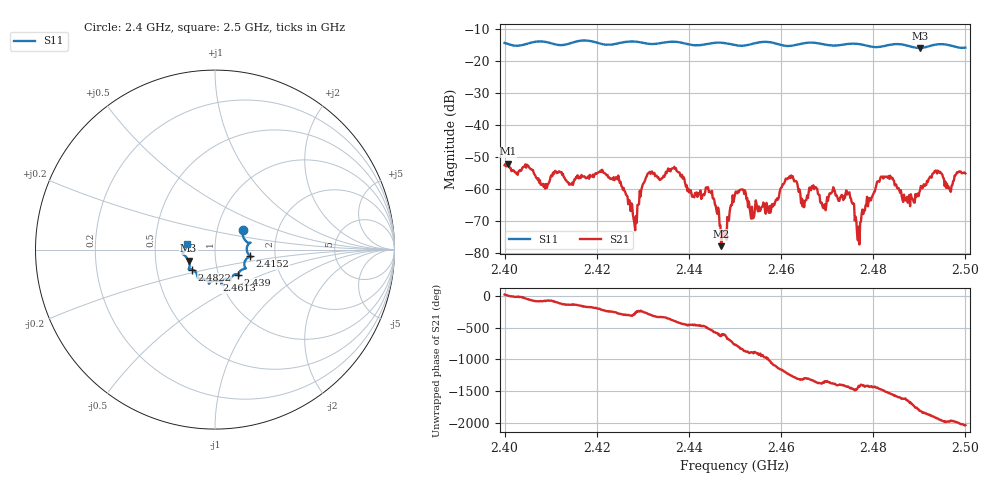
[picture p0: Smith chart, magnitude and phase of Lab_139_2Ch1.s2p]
# Hz S RI R 50
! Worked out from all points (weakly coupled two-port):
!   601 points, 2.4 GHz to 2.5 GHz, reference 50 ohm
!   highest |S21| = -52.16 dB at 2.4007 GHz (marker M1); lowest = -78.0 dB at 2.447 GHz (marker M2)
!   lowest |S11| = -15.9 dB at 2.4902 GHz (marker M3), VSWR 1.38, Z = 36.9 - j4.63 ohm
!   |S11| at or under -10 dB: start of sweep to end of sweep
!   S12 and S22 are empty: the file has one direction only
!   S11 on the Smith chart (normalised r, x): 2.4 GHz: 1.33, +0.31; 2.4152 GHz: 1.48, -0.11; 2.439 GHz: 1.24, -0.36; 2.4613 GHz: 0.96, -0.34; 2.4822 GHz: 0.76, -0.17; 2.5 GHz: 0.73, +0.05
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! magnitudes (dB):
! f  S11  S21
! 2.4 GHz  -14.4  -52.6
! 2.4007 GHz  -14.7  -52.2
! 2.4152 GHz  -14.1  -57.0
! 2.4167 GHz  -13.6  -55.7
! 2.4247 GHz  -14.5  -55.9
! 2.4283 GHz  -14.0  -73.0
! 2.431 GHz  -14.6  -55.4
! 2.4333 GHz  -14.5  -56.4
! 2.439 GHz  -14.5  -56.9
! 2.4445 GHz  -14.5  -60.8
! 2.447 GHz  -14.3  -78.0
! 2.45 GHz  -15.0  -61.7
! 2.4577 GHz  -14.1  -67.5
! 2.4613 GHz  -15.3  -57.0
! 2.4648 GHz  -14.5  -63.7
! 2.4667 GHz  -14.3  -59.2
! 2.4745 GHz  -14.7  -61.6
! 2.4768 GHz  -14.7  -71.8
! 2.4822 GHz  -15.4  -56.8
! 2.4833 GHz  -15.0  -56.0
! 2.4902 GHz  -15.9  -60.4
! 2.5 GHz  -15.8  -55.2
